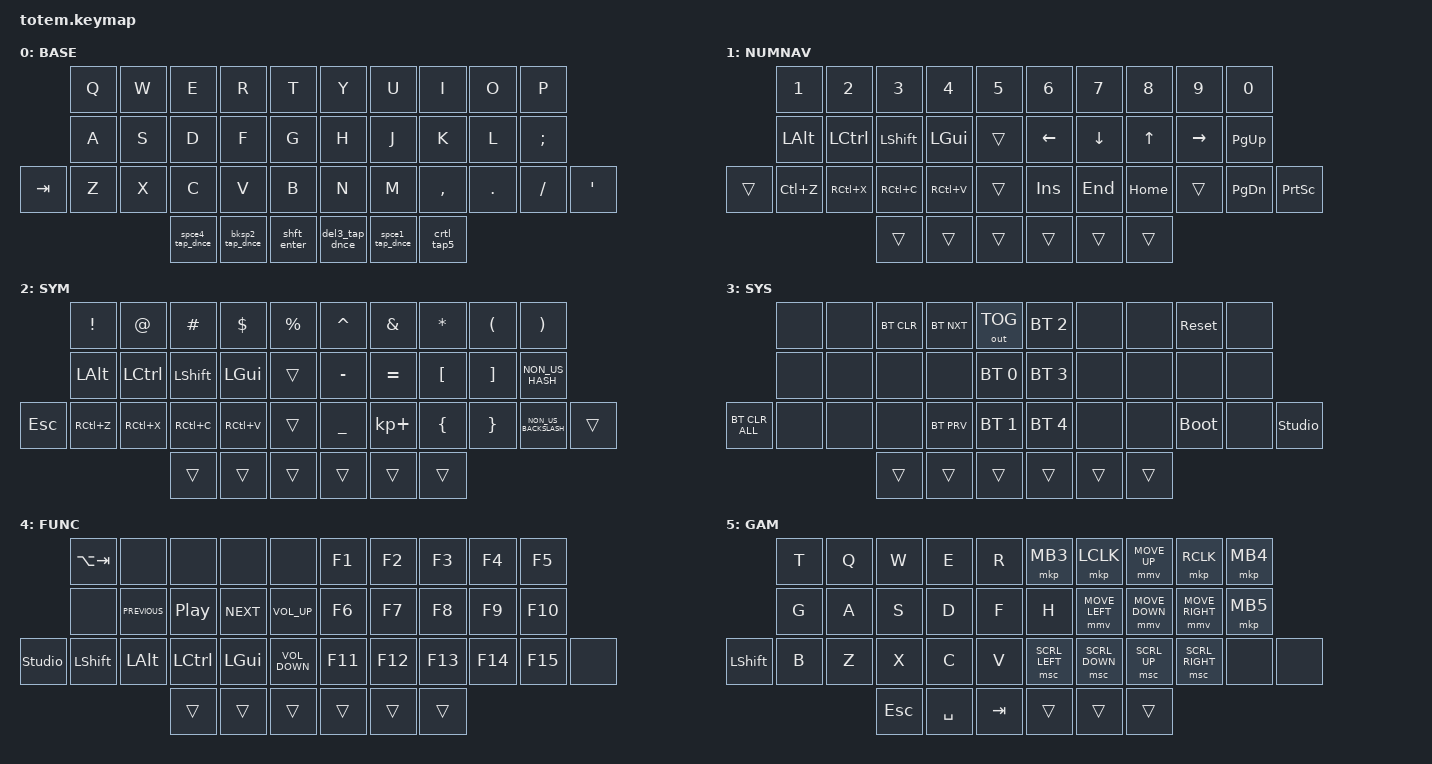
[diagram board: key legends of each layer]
//
//                                                        ▀▀▀▀▀     ▀▀▀▀▀          ▀▀█▀▀
//                                                        ▄▀▀▀▄  ▄  ▄▀▀▀▄  ▄  ▄▀▀▀▄  █  ▄▀▀▀▄
//                                                        █   █  █  █   █  █  █   █  █  █   █
//                                                         ▀▀▀   █   ▀▀▀   █   ▀▀▀   ▀   ▀▀▀
//                                                               █      ▄▄▄█▄▄▄    █   █  
//                                                               ▀      █  █  █     █▄█
//                                                             ▀▀▀▀▀    █  █  █      ▀
//                                                                      ▀  ▀  ▀
//
// ▄▄▄▄▄▄▄▄▄▄▄▄▄▄▄▄▄▄▄▄▄▄▄▄▄▄▄▄▄▄▄▄▄▄▄▄▄▄▄▄▄▄▄▄▄▄▄▄▄▄▄▄▄▄▄▄▄▄▄▄▄▄▄▄▄▄▄▄▄▄▄▄▄▄▄▄▄▄▄▄▄▄▄▄▄▄▄▄▄▄▄▄▄▄▄▄▄▄▄▄▄▄▄▄▄▄▄▄▄▄▄▄▄▄▄▄▄▄▄▄▄▄▄▄▄▄▄▄▄▄▄▄▄▄▄▄▄▄▄▄▄▄▄▄▄▄▄▄▄

#include <behaviors.dtsi>
#include <dt-bindings/zmk/bt.h>
#include <dt-bindings/zmk/keys.h>
#include <dt-bindings/zmk/outputs.h>
#include <dt-bindings/zmk/pointing.h>

#define BASE 0
#define NAV  1
#define SYM  2
#define ADJ  3
#define TVP1 4
#define TVP2 5

&mt {
    quick-tap-ms = <100>;
    global-quick-tap;
    flavor = "tap-preferred";
    tapping-term-ms = <170>;
};

&lt {
    tapping-term-ms = <170>;
    quick-tap-ms = <100>;
};

/ {
    combos {
        compatible = "zmk,combos";

        base {
            bindings = <&to 0>;
            key-positions = <11 12 13>;
        };

        Gaming {
            bindings = <&to 5>;
            key-positions = <16 17 18>;
        };
    };

    behaviors {
        spce1_tap_dnce: spce1_tap_dnce {
            compatible = "zmk,behavior-tap-dance";
            label = "SPCE1_TAP_DNCE";
            #binding-cells = <0>;
            bindings = <&lt 1 SPACE>, <&kp SPACE>;
        };

        bksp2_tap_dnce: bksp2_tap_dnce {
            compatible = "zmk,behavior-tap-dance";
            label = "BKSP2_TAP_DNCE";
            #binding-cells = <0>;
            bindings = <&lt 2 BACKSPACE>, <&kp BACKSPACE>;
        };

        del3_tap_dnce: del3_tap_dnce {
            compatible = "zmk,behavior-tap-dance";
            label = "DEL3_TAP_DNCE";
            #binding-cells = <0>;
            bindings = <&lt 3 DELETE>, <&kp DELETE>;
        };

        spce4_tap_dnce: spce4_tap_dnce {
            compatible = "zmk,behavior-tap-dance";
            label = "SPCE4_TAP_DNCE";
            #binding-cells = <0>;
            bindings = <&lt 4 SPACE>, <&kp SPACE>;
        };

        crtl_tap5: crtl_tap5 {
            compatible = "zmk,behavior-tap-dance";
            label = "CRTL_TAP5";
            #binding-cells = <0>;
            bindings = <&kp RIGHT_CONTROL>, <&mo 5>;

            tapping-term-ms = <170>;
        };

        shft_enter: shft_enter {
            compatible = "zmk,behavior-tap-dance";
            label = "SHFT_ENTER";
            #binding-cells = <0>;
            bindings = <&mt LEFT_SHIFT ENTER>, <&kp ENTER>;

            tapping-term-ms = <170>;
        };
    };

    keymap {
        compatible = "zmk,keymap";

        // ▄▄▄▄▄▄▄▄▄▄▄▄▄▄▄▄▄▄▄▄▄▄▄▄▄▄▄▄▄▄▄▄▄▄▄▄▄▄▄▄▄▄▄▄▄▄▄▄▄▄▄▄▄▄▄▄▄▄▄▄▄▄▄▄▄▄▄▄▄▄▄▄▄▄▄▄▄▄▄▄▄▄▄▄▄▄▄▄▄▄▄▄▄▄▄▄▄▄▄▄▄▄▄▄▄▄▄▄▄▄▄▄▄▄▄▄▄▄▄▄▄▄▄▄▄▄▄▄▄▄▄▄▄▄▄▄▄▄▄▄▄▄▄▄▄▄▄▄▄

        base_layer {
            // ┏━━━━━━━━━━━━━━━━━━━━━━━━━━━━━━━━━━━━━━━┓

            label = "BASE";

            // ┗━━━━━━━━━━━━━━━━━━━━━━━━━━━━━━━━━━━━━━━┛
            //             ┏━━━━━━━━━━━┳━━━━━━━━━━━┳━━━━━━━━━━━┳━━━━━━━━━━━┳━━━━━━━━━━━┓   ┏━━━━━━━━━━━┳━━━━━━━━━━━┳━━━━━━━━━━━┳━━━━━━━━━━━┳━━━━━━━━━━━┓
            //             ┃     Q     ┃     W     ┃     F     ┃     P     ┃     G     ┃   ┃     J     ┃     L     ┃     U     ┃     Y     ┃     ;     ┃
            //             ┣━━━━━━━━━━━╋━━━━━━━━━━━╋━━━━━━━━━━━╋━━━━━━━━━━━╋━━━━━━━━━━━┫   ┣━━━━━━━━━━━╋━━━━━━━━━━━╋━━━━━━━━━━━╋━━━━━━━━━━━╋━━━━━━━━━━━┫
            //             ┃     A     ┃     R     ┃     S     ┃     T     ┃     D     ┃   ┃     H     ┃     N     ┃     E     ┃     I     ┃     O     ┃
            // ┏━━━━━━━━━━━╋━━━━━━━━━━━╋━━━━━━━━━━━╋━━━━━━━━━━━╋━━━━━━━━━━━╋━━━━━━━━━━━┫   ┣━━━━━━━━━━━╋━━━━━━━━━━━╋━━━━━━━━━━━╋━━━━━━━━━━━╋━━━━━━━━━━━╋━━━━━━━━━━━┓
            // ┃     Q     ┃     Z     ┃     X     ┃     C     ┃     V     ┃     B     ┃   ┃     K     ┃     M     ┃     ,     ┃     .     ┃     /     ┃     \     ┃
            // ┗━━━━━━━━━━━┻━━━━━━━━━━━┻━━━━━━━━━━━╋━━━━━━━━━━━╋━━━━━━━━━━━╋━━━━━━━━━━━┫   ┣━━━━━━━━━━━╋━━━━━━━━━━━╋━━━━━━━━━━━╋━━━━━━━━━━━┻━━━━━━━━━━━┻━━━━━━━━━━━┛
            //                                     ┃    DEL    ┃    TAB    ┃    SPC    ┃   ┃   ENTER   ┃           ┃   BSPC    ┃
            //                                     ┗━━━━━━━━━━━┻━━━━━━━━━━━┻━━━━━━━━━━━┛   ┗━━━━━━━━━━━┻━━━━━━━━━━━┻━━━━━━━━━━━┛

            bindings = <
         &kp Q  &kp W  &kp E            &kp R            &kp T          &kp Y           &kp U            &kp I       &kp O    &kp P
         &kp A  &kp S  &kp D            &kp F            &kp G          &kp H           &kp J            &kp K       &kp L    &kp SEMICOLON
&kp TAB  &kp Z  &kp X  &kp C            &kp V            &kp B          &kp N           &kp M            &kp COMMA   &kp DOT  &kp FSLH       &kp APOSTROPHE
                       &spce4_tap_dnce  &bksp2_tap_dnce  &shft_enter    &del3_tap_dnce  &spce1_tap_dnce  &crtl_tap5
            >;
        };

        // ▄▄▄▄▄▄▄▄▄▄▄▄▄▄▄▄▄▄▄▄▄▄▄▄▄▄▄▄▄▄▄▄▄▄▄▄▄▄▄▄▄▄▄▄▄▄▄▄▄▄▄▄▄▄▄▄▄▄▄▄▄▄▄▄▄▄▄▄▄▄▄▄▄▄▄▄▄▄▄▄▄▄▄▄▄▄▄▄▄▄▄▄▄▄▄▄▄▄▄▄▄▄▄▄▄▄▄▄▄▄▄▄▄▄▄▄▄▄▄▄▄▄▄▄▄▄▄▄▄▄▄▄▄▄▄▄▄▄▄▄▄▄▄▄▄▄▄▄▄

        num_nav_layer {
            // ┏━━━━━━━━━━━━━━━━━━━━━━━━━━━━━━━━━━━━━━━┓

            label = "NUMNAV";

            // ┗━━━━━━━━━━━━━━━━━━━━━━━━━━━━━━━━━━━━━━━┛
            //             ┏━━━━━━━━━━━┳━━━━━━━━━━━┳━━━━━━━━━━━┳━━━━━━━━━━━┳━━━━━━━━━━━┓   ┏━━━━━━━━━━━┳━━━━━━━━━━━┳━━━━━━━━━━━┳━━━━━━━━━━━┳━━━━━━━━━━━┓
            //             ┃           ┃           ┃     UP    ┃           ┃     {     ┃   ┃     }     ┃     7     ┃     8     ┃     9     ┃     +     ┃
            //             ┣━━━━━━━━━━━╋━━━━━━━━━━━╋━━━━━━━━━━━╋━━━━━━━━━━━╋━━━━━━━━━━━┫   ┣━━━━━━━━━━━╋━━━━━━━━━━━╋━━━━━━━━━━━╋━━━━━━━━━━━╋━━━━━━━━━━━┫
            //             ┃   SHIFT   ┃   LEFT    ┃    DOWN   ┃   RIGHT   ┃     [     ┃   ┃     ]     ┃     4     ┃     5     ┃     6     ┃     -     ┃
            // ┏━━━━━━━━━━━╋━━━━━━━━━━━╋━━━━━━━━━━━╋━━━━━━━━━━━╋━━━━━━━━━━━╋━━━━━━━━━━━┫   ┣━━━━━━━━━━━╋━━━━━━━━━━━╋━━━━━━━━━━━╋━━━━━━━━━━━╋━━━━━━━━━━━╋━━━━━━━━━━━┓
            // ┃           ┃           ┃   P UP    ┃  C LOCK   ┃  P DOWN   ┃     (     ┃   ┃     )     ┃     1     ┃     2     ┃     3     ┃     *     ┃           ┃
            // ┗━━━━━━━━━━━┻━━━━━━━━━━━┻━━━━━━━━━━━╋━━━━━━━━━━━╋━━━━━━━━━━━╋━━━━━━━━━━━┫   ┣━━━━━━━━━━━╋━━━━━━━━━━━╋━━━━━━━━━━━╋━━━━━━━━━━━┻━━━━━━━━━━━┻━━━━━━━━━━━┛
            //                                     ┃           ┃    TAB    ┃    SPC    ┃   ┃    DEL    ┃     0     ┃           ┃
            //                                     ┗━━━━━━━━━━━┻━━━━━━━━━━━┻━━━━━━━━━━━┛   ┗━━━━━━━━━━━┻━━━━━━━━━━━┻━━━━━━━━━━━┛

            bindings = <
        &kp NUMBER_1  &kp NUMBER_2      &kp NUMBER_3    &kp NUMBER_4  &kp NUMBER_5    &kp NUMBER_6    &kp NUMBER_7    &kp NUMBER_8  &kp NUMBER_9  &kp NUMBER_0
        &kp LEFT_ALT  &kp LEFT_CONTROL  &kp LEFT_SHIFT  &kp LEFT_GUI  &trans          &kp LEFT_ARROW  &kp DOWN_ARROW  &kp UP_ARROW  &kp RIGHT     &kp PAGE_UP
&trans  &kp LC(Z)     &kp RC(X)         &kp RC(C)       &kp RC(V)     &trans          &kp INSERT      &kp END         &kp HOME      &trans        &kp PAGE_DOWN  &kp PRINTSCREEN
                                        &trans          &trans        &trans          &trans          &trans          &trans
            >;
        };

        // ▄▄▄▄▄▄▄▄▄▄▄▄▄▄▄▄▄▄▄▄▄▄▄▄▄▄▄▄▄▄▄▄▄▄▄▄▄▄▄▄▄▄▄▄▄▄▄▄▄▄▄▄▄▄▄▄▄▄▄▄▄▄▄▄▄▄▄▄▄▄▄▄▄▄▄▄▄▄▄▄▄▄▄▄▄▄▄▄▄▄▄▄▄▄▄▄▄▄▄▄▄▄▄▄▄▄▄▄▄▄▄▄▄▄▄▄▄▄▄▄▄▄▄▄▄▄▄▄▄▄▄▄▄▄▄▄▄▄▄▄▄▄▄▄▄▄▄▄▄

        sym_layer {
            // ┏━━━━━━━━━━━━━━━━━━━━━━━━━━━━━━━━━━━━━━━┓

            label = "SYM";

            // ┗━━━━━━━━━━━━━━━━━━━━━━━━━━━━━━━━━━━━━━━┛
            //             ┏━━━━━━━━━━━┳━━━━━━━━━━━┳━━━━━━━━━━━┳━━━━━━━━━━━┳━━━━━━━━━━━┓   ┏━━━━━━━━━━━┳━━━━━━━━━━━┳━━━━━━━━━━━┳━━━━━━━━━━━┳━━━━━━━━━━━┓
            //             ┃     !     ┃     @     ┃     #     ┃     $     ┃     %     ┃   ┃     ˆ     ┃     &     ┃     Ü     ┃     '     ┃     "     ┃
            //             ┣━━━━━━━━━━━╋━━━━━━━━━━━╋━━━━━━━━━━━╋━━━━━━━━━━━╋━━━━━━━━━━━┫   ┣━━━━━━━━━━━╋━━━━━━━━━━━╋━━━━━━━━━━━╋━━━━━━━━━━━╋━━━━━━━━━━━┫
            //             ┃     Ä     ┃           ┃    SZ     ┃           ┃           ┃   ┃   MUTE    ┃   YEN     ┃   EURO    ┃  POUND    ┃     Ö     ┃
            // ┏━━━━━━━━━━━╋━━━━━━━━━━━╋━━━━━━━━━━━╋━━━━━━━━━━━╋━━━━━━━━━━━╋━━━━━━━━━━━┫   ┣━━━━━━━━━━━╋━━━━━━━━━━━╋━━━━━━━━━━━╋━━━━━━━━━━━╋━━━━━━━━━━━╋━━━━━━━━━━━┓
            // ┃           ┃  EMAIL1   ┃  EMAIL2   ┃           ┃           ┃           ┃   ┃   VOL-    ┃   VOL+    ┃   LAST    ┃   NEXT    ┃     \     ┃           ┃
            // ┗━━━━━━━━━━━┻━━━━━━━━━━━┻━━━━━━━━━━━╋━━━━━━━━━━━╋━━━━━━━━━━━╋━━━━━━━━━━━┫   ┣━━━━━━━━━━━╋━━━━━━━━━━━╋━━━━━━━━━━━╋━━━━━━━━━━━┻━━━━━━━━━━━┻━━━━━━━━━━━┛
            //                                     ┃           ┃    GIF    ┃    ADJ    ┃   ┃           ┃           ┃           ┃
            //                                     ┗━━━━━━━━━━━┻━━━━━━━━━━━┻━━━━━━━━━━━┛   ┗━━━━━━━━━━━┻━━━━━━━━━━━┻━━━━━━━━━━━┛

            bindings = <
            &kp EXCL      &kp AT            &kp POUND       &kp DLLR      &kp PRCNT    &kp CARET       &kp AMPS     &kp ASTERISK      &kp LEFT_PARENTHESIS  &kp RIGHT_PARENTHESIS
            &kp LEFT_ALT  &kp LEFT_CONTROL  &kp LEFT_SHIFT  &kp LEFT_GUI  &trans       &kp MINUS       &kp EQUAL    &kp LEFT_BRACKET  &kp RIGHT_BRACKET     &kp NON_US_HASH
&kp ESCAPE  &kp RC(Z)     &kp RC(X)         &kp RC(C)       &kp RC(V)     &trans       &kp UNDERSCORE  &kp KP_PLUS  &kp LEFT_BRACE    &kp RIGHT_BRACE       &kp NON_US_BACKSLASH   &trans
                                            &trans          &trans        &trans       &trans          &trans       &trans
            >;
        };

        // ▄▄▄▄▄▄▄▄▄▄▄▄▄▄▄▄▄▄▄▄▄▄▄▄▄▄▄▄▄▄▄▄▄▄▄▄▄▄▄▄▄▄▄▄▄▄▄▄▄▄▄▄▄▄▄▄▄▄▄▄▄▄▄▄▄▄▄▄▄▄▄▄▄▄▄▄▄▄▄▄▄▄▄▄▄▄▄▄▄▄▄▄▄▄▄▄▄▄▄▄▄▄▄▄▄▄▄▄▄▄▄▄▄▄▄▄▄▄▄▄▄▄▄▄▄▄▄▄▄▄▄▄▄▄▄▄▄▄▄▄▄▄▄▄▄▄▄▄▄

        system_layer {
            // ┏━━━━━━━━━━━━━━━━━━━━━━━━━━━━━━━━━━━━━━━┓

            label = "SYS";

            // ┗━━━━━━━━━━━━━━━━━━━━━━━━━━━━━━━━━━━━━━━┛
            //             ┏━━━━━━━━━━━┳━━━━━━━━━━━┳━━━━━━━━━━━┳━━━━━━━━━━━┳━━━━━━━━━━━┓   ┏━━━━━━━━━━━┳━━━━━━━━━━━┳━━━━━━━━━━━┳━━━━━━━━━━━┳━━━━━━━━━━━┓
            //             ┃   RESET   ┃ BT CLEAR  ┃  OUT TOG  ┃           ┃           ┃   ┃           ┃    F7     ┃    F8     ┃    F9     ┃    F12    ┃
            //             ┣━━━━━━━━━━━╋━━━━━━━━━━━╋━━━━━━━━━━━╋━━━━━━━━━━━╋━━━━━━━━━━━┫   ┣━━━━━━━━━━━╋━━━━━━━━━━━╋━━━━━━━━━━━╋━━━━━━━━━━━╋━━━━━━━━━━━┫
            //             ┃ BOOTLOAD  ┃ BT NEXT   ┃           ┃           ┃           ┃   ┃           ┃    F4     ┃    F5     ┃    F6     ┃    F11    ┃
            // ┏━━━━━━━━━━━╋━━━━━━━━━━━╋━━━━━━━━━━━╋━━━━━━━━━━━╋━━━━━━━━━━━╋━━━━━━━━━━━┫   ┣━━━━━━━━━━━╋━━━━━━━━━━━╋━━━━━━━━━━━╋━━━━━━━━━━━╋━━━━━━━━━━━╋━━━━━━━━━━━┓
            // ┃           ┃           ┃ BT PREV   ┃           ┃           ┃           ┃   ┃           ┃    F1     ┃    F2     ┃    F3     ┃    F10    ┃           ┃
            // ┗━━━━━━━━━━━┻━━━━━━━━━━━┻━━━━━━━━━━━╋━━━━━━━━━━━╋━━━━━━━━━━━╋━━━━━━━━━━━┫   ┣━━━━━━━━━━━╋━━━━━━━━━━━╋━━━━━━━━━━━╋━━━━━━━━━━━┻━━━━━━━━━━━┻━━━━━━━━━━━┛
            //                                     ┃           ┃           ┃           ┃   ┃           ┃           ┃           ┃
            //                                     ┗━━━━━━━━━━━┻━━━━━━━━━━━┻━━━━━━━━━━━┛   ┗━━━━━━━━━━━┻━━━━━━━━━━━┻━━━━━━━━━━━┛

            bindings = <
                &none  &none  &bt BT_CLR  &bt BT_NXT  &out OUT_TOG    &bt BT_SEL 2  &none   &none   &sys_reset   &none
                &none  &none  &none       &none       &bt BT_SEL 0    &bt BT_SEL 3  &none   &none   &none        &none
&bt BT_CLR_ALL  &none  &none  &none       &bt BT_PRV  &bt BT_SEL 1    &bt BT_SEL 4  &none   &none   &bootloader  &none  &studio_unlock
                              &trans      &trans      &trans          &trans        &trans  &trans
            >;
        };

        // ▄▄▄▄▄▄▄▄▄▄▄▄▄▄▄▄▄▄▄▄▄▄▄▄▄▄▄▄▄▄▄▄▄▄▄▄▄▄▄▄▄▄▄▄▄▄▄▄▄▄▄▄▄▄▄▄▄▄▄▄▄▄▄▄▄▄▄▄▄▄▄▄▄▄▄▄▄▄▄▄▄▄▄▄▄▄▄▄▄▄▄▄▄▄▄▄▄▄▄▄▄▄▄▄▄▄▄▄▄▄▄▄▄▄▄▄▄▄▄▄▄▄▄▄▄▄▄▄▄▄▄▄▄▄▄▄▄▄▄▄▄▄▄▄▄▄▄▄▄

        function_layer {
            // ┏━━━━━━━━━━━━━━━━━━━━━━━━━━━━━━━━━━━━━━━┓

            label = "FUNC";

            // ┗━━━━━━━━━━━━━━━━━━━━━━━━━━━━━━━━━━━━━━━┛
            //             ┏━━━━━━━━━━━┳━━━━━━━━━━━┳━━━━━━━━━━━┳━━━━━━━━━━━┳━━━━━━━━━━━┓   ┏━━━━━━━━━━━┳━━━━━━━━━━━┳━━━━━━━━━━━┳━━━━━━━━━━━┳━━━━━━━━━━━┓
            //             ┃ NEXT FILE ┃ MARK IN   ┃ ROTATE    ┃ MARK OUT  ┃ SHOW SNAP ┃   ┃           ┃           ┃           ┃           ┃           ┃
            //             ┣━━━━━━━━━━━╋━━━━━━━━━━━╋━━━━━━━━━━━╋━━━━━━━━━━━╋━━━━━━━━━━━┫   ┣━━━━━━━━━━━╋━━━━━━━━━━━╋━━━━━━━━━━━╋━━━━━━━━━━━╋━━━━━━━━━━━┫
            //             ┃ TVP II    ┃ LEFT      ┃ PAN       ┃ RIGHT     ┃ PLAY/FLIP ┃   ┃           ┃           ┃           ┃           ┃           ┃
            // ┏━━━━━━━━━━━╋━━━━━━━━━━━╋━━━━━━━━━━━╋━━━━━━━━━━━╋━━━━━━━━━━━╋━━━━━━━━━━━┫   ┣━━━━━━━━━━━╋━━━━━━━━━━━╋━━━━━━━━━━━╋━━━━━━━━━━━╋━━━━━━━━━━━╋━━━━━━━━━━━┓
            // ┃ FULLSCR   ┃ SHIFT     ┃ COPY      ┃ DELETE    ┃ PASTE     ┃ IMG MARK  ┃   ┃           ┃           ┃           ┃           ┃           ┃           ┃
            // ┗━━━━━━━━━━━┻━━━━━━━━━━━┻━━━━━━━━━━━╋━━━━━━━━━━━╋━━━━━━━━━━━╋━━━━━━━━━━━┫   ┣━━━━━━━━━━━╋━━━━━━━━━━━╋━━━━━━━━━━━╋━━━━━━━━━━━┻━━━━━━━━━━━┻━━━━━━━━━━━┛
            //                                     ┃           ┃ UNDO/SAVE ┃  SEL/MOV  ┃   ┃           ┃           ┃           ┃
            //                                     ┗━━━━━━━━━━━┻━━━━━━━━━━━┻━━━━━━━━━━━┛   ┗━━━━━━━━━━━┻━━━━━━━━━━━┻━━━━━━━━━━━┛

            bindings = <
                &kp LA(TAB)     &none           &none             &none         &none                &kp F1   &kp F2   &kp F3   &kp F4   &kp F5
                &none           &kp C_PREVIOUS  &kp C_PLAY_PAUSE  &kp C_NEXT    &kp C_VOLUME_UP      &kp F6   &kp F7   &kp F8   &kp F9   &kp F10
&studio_unlock  &kp LEFT_SHIFT  &kp LEFT_ALT    &kp LEFT_CONTROL  &kp LEFT_GUI  &kp C_VOLUME_DOWN    &kp F11  &kp F12  &kp F13  &kp F14  &kp F15  &none
                                                &trans            &trans        &trans               &trans   &trans   &trans
            >;
        };

        // ▄▄▄▄▄▄▄▄▄▄▄▄▄▄▄▄▄▄▄▄▄▄▄▄▄▄▄▄▄▄▄▄▄▄▄▄▄▄▄▄▄▄▄▄▄▄▄▄▄▄▄▄▄▄▄▄▄▄▄▄▄▄▄▄▄▄▄▄▄▄▄▄▄▄▄▄▄▄▄▄▄▄▄▄▄▄▄▄▄▄▄▄▄▄▄▄▄▄▄▄▄▄▄▄▄▄▄▄▄▄▄▄▄▄▄▄▄▄▄▄▄▄▄▄▄▄▄▄▄▄▄▄▄▄▄▄▄▄▄▄▄▄▄▄▄▄▄▄▄

        gaming_layer {
            bindings = <
           &kp T  &kp Q  &kp W    &kp E      &kp R      &mkp MB3        &mkp LCLK       &mmv MOVE_UP    &mkp RCLK        &mkp MB4
           &kp G  &kp A  &kp S    &kp D      &kp F      &kp H           &mmv MOVE_LEFT  &mmv MOVE_DOWN  &mmv MOVE_RIGHT  &mkp MB5
&kp LSHFT  &kp B  &kp Z  &kp X    &kp C      &kp V      &msc SCRL_LEFT  &msc SCRL_DOWN  &msc SCRL_UP    &msc SCRL_RIGHT  &none     &none
                         &kp ESC  &kp SPACE  &kp TAB    &trans          &trans          &trans
            >;

            label = "GAM";
        };
    };
};
